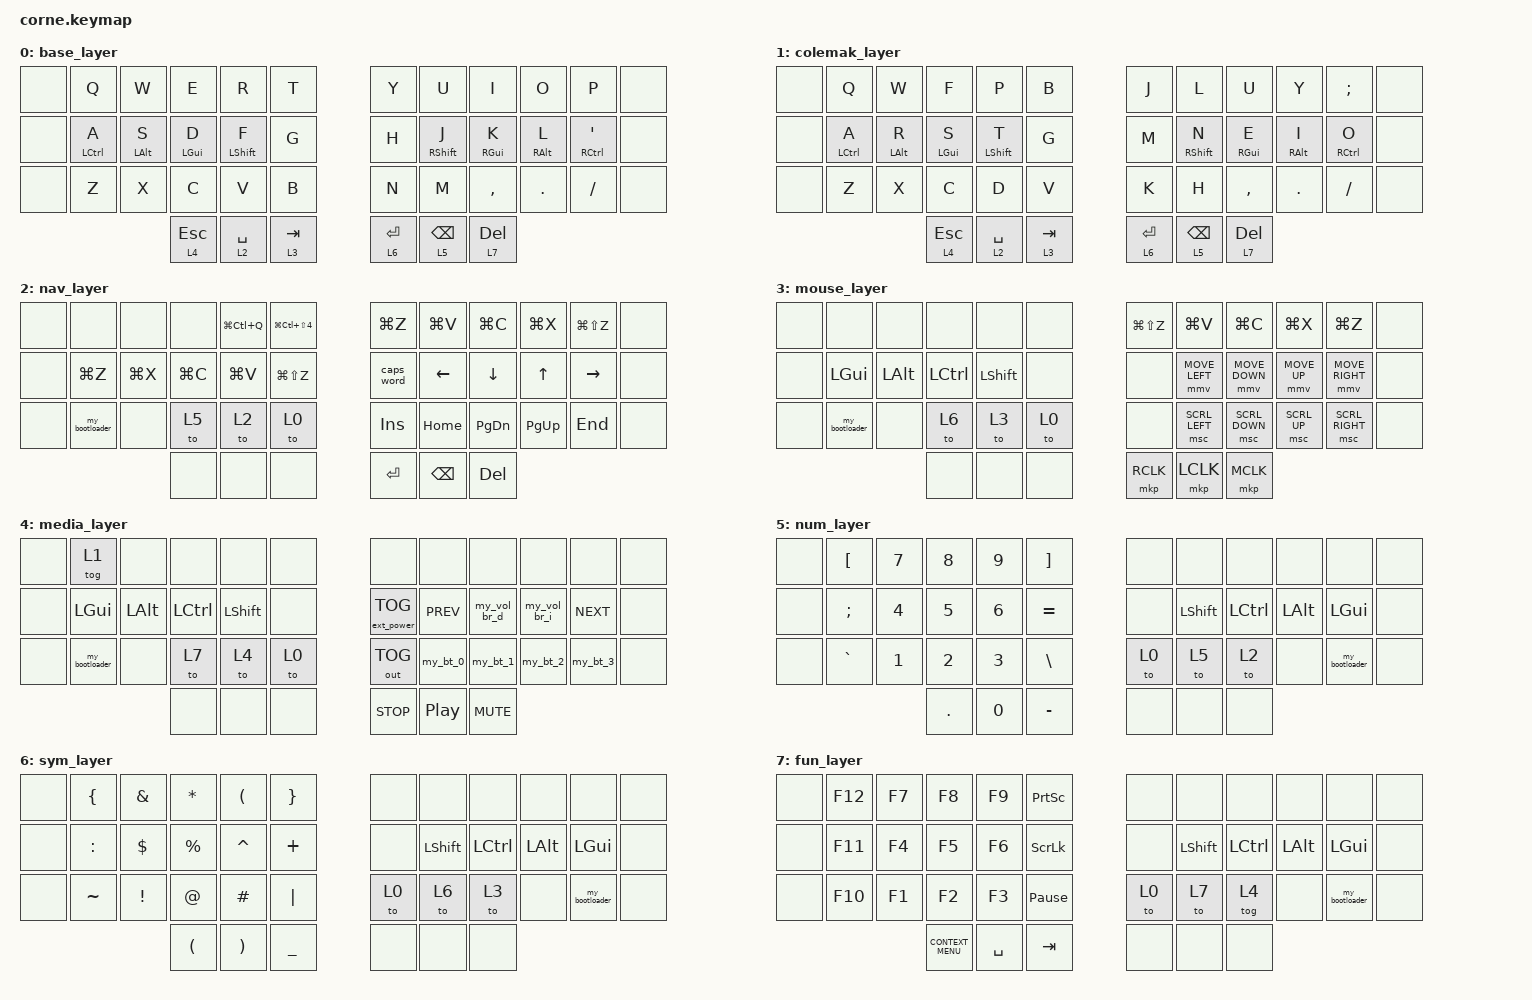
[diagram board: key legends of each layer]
#include <behaviors.dtsi>
#include <dt-bindings/zmk/bt.h>
#include <dt-bindings/zmk/ext_power.h>
#include <dt-bindings/zmk/keys.h>
#include <dt-bindings/zmk/outputs.h>
#include <dt-bindings/zmk/pointing.h>

/ {
    macros {
        bt_sel_cl: bt_sel_cl {
            compatible = "zmk,behavior-macro-one-param";
            #binding-cells = <1>;
            bindings = <&macro_param_1to2 &bt BT_SEL MACRO_PLACEHOLDER &bt BT_CLR>;
            label = "BT_SEL_CL";
        };
    };

    behaviors {
        hm: home_row_mod {
            compatible = "zmk,behavior-hold-tap";
            #binding-cells = <2>;
            flavor = "balanced";
            require-prior-idle-ms = <75>;
            tapping-term-ms = <280>;
            quick-tap-ms = <175>;
            bindings = <&kp>, <&kp>;

            //hold-trigger-key-positions = < ... >; // List of keys on the right side of the keyboard
            //hold-trigger-on-release;
        };

        my_bt_0: my_bt_0 {
            compatible = "zmk,behavior-mod-morph";
            label = "MY_BT_0";
            bindings = <&bt BT_SEL 0>, <&bt_sel_cl 0>;
            #binding-cells = <0>;
            mods = <(MOD_LSFT)>;
        };

        my_bt_1: my_bt_1 {
            compatible = "zmk,behavior-mod-morph";
            label = "MY_BT_1";
            bindings = <&bt BT_SEL 1>, <&bt_sel_cl 1>;
            #binding-cells = <0>;
            mods = <(MOD_LSFT)>;
        };

        my_bt_2: my_bt_2 {
            compatible = "zmk,behavior-mod-morph";
            label = "MY_BT_2";
            bindings = <&bt BT_SEL 2>, <&bt_sel_cl 2>;
            #binding-cells = <0>;
            mods = <(MOD_LSFT)>;
        };

        my_bt_3: my_bt_3 {
            compatible = "zmk,behavior-mod-morph";
            label = "MY_BT_3";
            bindings = <&bt BT_SEL 3>, <&bt_sel_cl 3>;
            #binding-cells = <0>;
            mods = <(MOD_LSFT)>;
        };

        my_bt_4: my_bt_4 {
            compatible = "zmk,behavior-mod-morph";
            label = "MY_BT_4";
            bindings = <&bt BT_SEL 4>, <&bt_sel_cl 4>;
            #binding-cells = <0>;
            mods = <(MOD_LSFT)>;
        };

        my_vol_br_i: my_vol_br_i {
            compatible = "zmk,behavior-mod-morph";
            label = "MY_VOL_BR_I";
            bindings = <&kp C_VOLUME_UP>, <&kp C_BRIGHTNESS_INC>;
            #binding-cells = <0>;
            mods = <(MOD_LSFT)>;
        };

        my_vol_br_d: my_vol_br_d {
            compatible = "zmk,behavior-mod-morph";
            label = "MY_VOL_BR_D";
            bindings = <&kp C_VOLUME_DOWN>, <&kp C_BRIGHTNESS_DEC>;
            #binding-cells = <0>;
            mods = <(MOD_LSFT)>;
        };

        my_bootloader: my_bootloader {
            compatible = "zmk,behavior-tap-dance";
            label = "MY_BOOTLOADER";
            #binding-cells = <0>;
            bindings = <&none>, <&bootloader>;
            tapping-term-ms = <200>;
        };
    };

    keymap {
        compatible = "zmk,keymap";

        base_layer {
            bindings = <
&none  &kp Q               &kp W           &kp E           &kp R             &kp T        &kp Y        &kp U              &kp I            &kp O            &kp P                           &none
&none  &hm LEFT_CONTROL A  &hm LEFT_ALT S  &hm LEFT_GUI D  &hm LEFT_SHIFT F  &kp G        &kp H        &hm RIGHT_SHIFT J  &hm RIGHT_GUI K  &hm RIGHT_ALT L  &hm RIGHT_CONTROL SINGLE_QUOTE  &none
&none  &kp Z               &kp X           &kp C           &kp V             &kp B        &kp N        &kp M              &kp COMMA        &kp PERIOD       &kp FSLH                        &none
                                           &lt 4 ESCAPE    &lt 2 SPACE       &lt 3 TAB    &lt 6 ENTER  &lt 5 BACKSPACE    &lt 7 DELETE
            >;
        };

        colemak_layer {
            bindings = <
&none  &kp Q               &kp W           &kp F           &kp P             &kp B        &kp J        &kp L              &kp U            &kp Y            &kp SEMICOLON        &none
&none  &hm LEFT_CONTROL A  &hm LEFT_ALT R  &hm LEFT_GUI S  &hm LEFT_SHIFT T  &kp G        &kp M        &hm RIGHT_SHIFT N  &hm RIGHT_GUI E  &hm RIGHT_ALT I  &hm RIGHT_CONTROL O  &none
&none  &kp Z               &kp X           &kp C           &kp D             &kp V        &kp K        &kp H              &kp COMMA        &kp PERIOD       &kp FSLH             &none
                                           &lt 4 ESCAPE    &lt 2 SPACE       &lt 3 TAB    &lt 6 ENTER  &lt 5 BACKSPACE    &lt 7 DELETE
            >;
        };

        nav_layer {
            bindings = <
&none  &none           &none      &none      &kp LG(LC(Q))  &kp LG(LC(LS(N4)))    &kp LG(Z)   &kp LG(V)  &kp LG(C)  &kp LG(X)  &kp LG(LS(Z))  &none
&none  &kp LG(Z)       &kp LG(X)  &kp LG(C)  &kp LG(V)      &kp LG(LS(Z))         &caps_word  &kp LEFT   &kp DOWN   &kp UP     &kp RIGHT      &none
&none  &my_bootloader  &none      &to 5      &to 2          &to 0                 &kp INS     &kp HOME   &kp PG_DN  &kp PG_UP  &kp END        &none
                                  &none      &none          &none                 &kp RET     &kp BSPC   &kp DEL
            >;
        };

        mouse_layer {
            bindings = <
&none  &none           &none          &none      &none      &none    &kp LG(LS(Z))  &kp LG(V)       &kp LG(C)       &kp LG(X)     &kp LG(Z)        &none
&none  &kp LGUI        &kp LALT       &kp LCTRL  &kp LSHFT  &none    &none          &mmv MOVE_LEFT  &mmv MOVE_DOWN  &mmv MOVE_UP  &mmv MOVE_RIGHT  &none
&none  &my_bootloader  &none          &to 6      &to 3      &to 0    &none          &msc SCRL_LEFT  &msc SCRL_DOWN  &msc SCRL_UP  &msc SCRL_RIGHT  &none
                                      &none      &none      &none    &mkp RCLK      &mkp LCLK       &mkp MCLK
            >;
        };

        media_layer {
            bindings = <
&none  &tog 1          &none          &none      &none      &none    &none              &none             &none         &none         &none       &none
&none  &kp LGUI        &kp LALT       &kp LCTRL  &kp LSHFT  &none    &ext_power EP_TOG  &kp C_PREV        &my_vol_br_d  &my_vol_br_i  &kp C_NEXT  &none
&none  &my_bootloader  &none          &to 7      &to 4      &to 0    &out OUT_TOG       &my_bt_0          &my_bt_1      &my_bt_2      &my_bt_3    &none
                                      &none      &none      &none    &kp C_STOP         &kp C_PLAY_PAUSE  &kp C_MUTE
            >;
        };

        num_layer {
            bindings = <
&none  &kp LBKT   &kp N7  &kp N8   &kp N9  &kp RBKT     &none  &none      &none      &none          &none           &none
&none  &kp SEMI   &kp N4  &kp N5   &kp N6  &kp EQUAL    &none  &kp LSHFT  &kp LCTRL  &kp LALT       &kp LGUI        &none
&none  &kp GRAVE  &kp N1  &kp N2   &kp N3  &kp BSLH     &to 0  &to 5      &to 2      &none          &my_bootloader  &none
                          &kp DOT  &kp N0  &kp MINUS    &none  &none      &none
            >;
        };

        sym_layer {
            bindings = <
&none  &kp LEFT_BRACE  &kp AMPERSAND  &kp ASTERISK          &kp LEFT_PARENTHESIS   &kp RIGHT_BRACE    &none  &none      &none      &none          &none           &none
&none  &kp COLON       &kp DOLLAR     &kp PERCENT           &kp CARET              &kp PLUS           &none  &kp LSHFT  &kp LCTRL  &kp LALT       &kp LGUI        &none
&none  &kp TILDE       &kp EXCL       &kp AT_SIGN           &kp POUND              &kp PIPE           &to 0  &to 6      &to 3      &none          &my_bootloader  &none
                                      &kp LEFT_PARENTHESIS  &kp RIGHT_PARENTHESIS  &kp UNDERSCORE     &none  &none      &none
            >;
        };

        fun_layer {
            bindings = <
&none  &kp F12  &kp F7  &kp F8              &kp F9     &kp PRINTSCREEN    &none  &none      &none      &none          &none           &none
&none  &kp F11  &kp F4  &kp F5              &kp F6     &kp SCROLLLOCK     &none  &kp LSHFT  &kp LCTRL  &kp LALT       &kp LGUI        &none
&none  &kp F10  &kp F1  &kp F2              &kp F3     &kp PAUSE_BREAK    &to 0  &to 7      &tog 4     &none          &my_bootloader  &none
                        &kp K_CONTEXT_MENU  &kp SPACE  &kp TAB            &none  &none      &none
            >;
        };
    };
};
